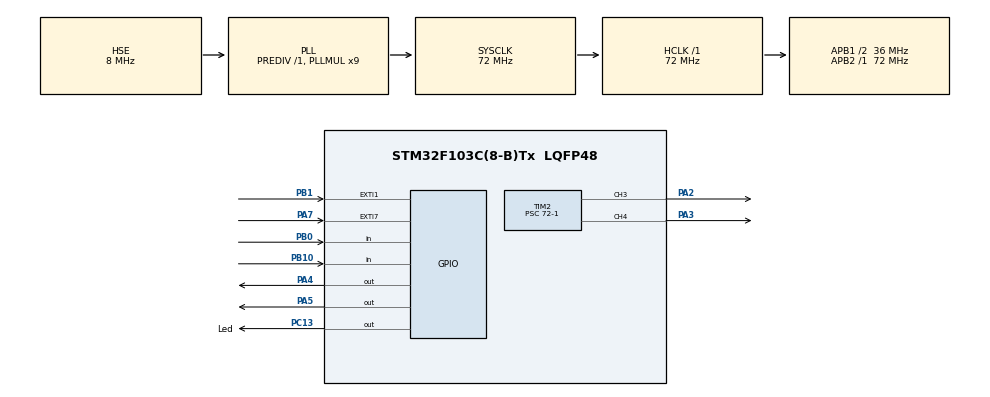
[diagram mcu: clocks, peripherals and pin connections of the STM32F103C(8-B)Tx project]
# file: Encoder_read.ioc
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FREERTOS.Tasks01=defaultTask,0,128,StartDefaultTask,Default,NULL,Dynamic,NULL,NULL;myTask02,0,128,StartTask02,Default,NULL,Dynamic,NULL,NULL
Mcu.Family=STM32F1
Mcu.Name=STM32F103C(8-B)Tx
Mcu.Package=LQFP48
NVIC.EXTI1_IRQn=true\:5\:0\:false\:false\:true\:true\:true\:true\:true
NVIC.EXTI9_5_IRQn=true\:5\:0\:false\:false\:true\:true\:true\:true\:true
NVIC.PriorityGroup=NVIC_PRIORITYGROUP_4
NVIC.TIM3_IRQn=true\:5\:0\:false\:false\:true\:true\:true\:true\:true
NVIC.TIM4_IRQn=true\:15\:0\:false\:false\:true\:false\:false\:true\:true
NVIC.TimeBase=TIM4_IRQn
NVIC.TimeBaseIP=TIM4
PA13.Mode=Serial_Wire
PA13.Signal=SYS_JTMS-SWDIO
PA14.Mode=Serial_Wire
PA14.Signal=SYS_JTCK-SWCLK
PA2.Signal=S_TIM2_CH3
PA3.Signal=S_TIM2_CH4
PA4.Signal=GPIO_Output
PA5.Signal=GPIO_Output
PA7.GPIO_PuPd=GPIO_PULLUP
PA7.Signal=GPXTI7
PB0.GPIO_PuPd=GPIO_PULLUP
PB0.Signal=GPIO_Input
PB1.GPIO_ModeDefaultEXTI=GPIO_MODE_IT_RISING
PB1.GPIO_PuPd=GPIO_PULLUP
PB1.Signal=GPXTI1
PB10.GPIO_PuPd=GPIO_PULLUP
PB10.Signal=GPIO_Input
PC13-TAMPER-RTC.GPIO_Label=Led
PC13-TAMPER-RTC.Signal=GPIO_Output
PD0-OSC_IN.Mode=HSE-External-Oscillator
PD0-OSC_IN.Signal=RCC_OSC_IN
PD1-OSC_OUT.Mode=HSE-External-Oscillator
PD1-OSC_OUT.Signal=RCC_OSC_OUT
ProjectManager.HeapSize=0x200
ProjectManager.StackSize=0x400
ProjectManager.TargetToolchain=STM32CubeIDE
RCC.AHBFreq_Value=72000000
RCC.APB1CLKDivider=RCC_HCLK_DIV2
RCC.APB1Freq_Value=36000000
RCC.APB1TimFreq_Value=72000000
RCC.APB2Freq_Value=72000000
RCC.APB2TimFreq_Value=72000000
RCC.HCLKFreq_Value=72000000
RCC.PLLMUL=RCC_PLL_MUL9
RCC.PLLSourceVirtual=RCC_PLLSOURCE_HSE
RCC.SYSCLKFreq_VALUE=72000000
RCC.SYSCLKSource=RCC_SYSCLKSOURCE_PLLCLK
RCC.USBFreq_Value=72000000
SH.S_TIM2_CH3.0=TIM2_CH3,PWM Generation3 CH3
SH.S_TIM2_CH4.0=TIM2_CH4,PWM Generation4 CH4
TIM2.Channel-PWM\ Generation3\ CH3=TIM_CHANNEL_3
TIM2.Channel-PWM\ Generation4\ CH4=TIM_CHANNEL_4
TIM2.Period=100-1
TIM2.Prescaler=72-1
TIM3.Period=2000-1
TIM3.Prescaler=72-1
VP_FREERTOS_VS_CMSIS_V1.Mode=CMSIS_V1
VP_SYS_VS_tim4.Mode=TIM4
VP_TIM2_VS_ClockSourceINT.Mode=Internal
VP_TIM3_VS_ClockSourceINT.Mode=Internal
board=custom

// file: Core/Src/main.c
/* USER CODE BEGIN Header */
/**
  ******************************************************************************
  * @file           : main.c
  * @brief          : Main program body
  ******************************************************************************
  * @attention
  *
  * Copyright (c) 2023 STMicroelectronics.
  * All rights reserved.
  *
  * This software is licensed under terms that can be found in the LICENSE file
  * in the root directory of this software component.
  * If no LICENSE file comes with this software, it is provided AS-IS.
  *
  ******************************************************************************
  */
/* USER CODE END Header */
#include "main.h"
#include "cmsis_os.h"

/* USER CODE BEGIN Includes */
#include <stdlib.h>
volatile int  count;
int u;
long counter;
long pos ;
float N = 13;
long precount;
float veloc;
float v1;
float v1Filt;
float v1Prev;
int vt = -50;
float e ;
float eI;
int u;
float kp = 1;
float ki = 0.05;
int dir;
int pwr;

int currentAngle = 0;
int angle = 0;
float stepPerAngle = 1.8 ; // full step = 1.8
int   numstep;
int state = 1;

int E;
int PREE;
float EI;
float ED;
int t = 80;
float kp1 = 1,ki1 = 0.05,kd1 = 0;
int Count;
/* USER CODE END Includes */

TIM_HandleTypeDef htim2;
TIM_HandleTypeDef htim3;

osThreadId defaultTaskHandle;
osThreadId myTask02Handle;

void SystemClock_Config(void);
static void MX_GPIO_Init(void);
static void MX_TIM2_Init(void);
static void MX_TIM3_Init(void);
void StartDefaultTask(void const * argument);
void StartTask02(void const * argument);

int main(void)
{

  /* MCU Configuration--------------------------------------------------------*/

  /* Reset of all peripherals, Initializes the Flash interface and the Systick. */
  HAL_Init();

  /* Configure the system clock */
  SystemClock_Config();

  /* Initialize all configured peripherals */
  MX_GPIO_Init();
  MX_TIM2_Init();
  MX_TIM3_Init();
  /* USER CODE BEGIN 2 */
  HAL_TIM_PWM_Start(&htim2,TIM_CHANNEL_3);
  HAL_TIM_PWM_Start(&htim2,TIM_CHANNEL_4);
  HAL_TIM_Base_Start_IT(&htim3);
  /* USER CODE END 2 */

  /* Create the thread(s) */
  /* definition and creation of defaultTask */
  osThreadDef(defaultTask, StartDefaultTask, osPriorityNormal, 0, 128);
  defaultTaskHandle = osThreadCreate(osThread(defaultTask), NULL);

  /* definition and creation of myTask02 */
  osThreadDef(myTask02, StartTask02, osPriorityNormal, 0, 128);
  myTask02Handle = osThreadCreate(osThread(myTask02), NULL);

  /* Start scheduler */
  osKernelStart();

  /* We should never get here as control is now taken by the scheduler */
  /* Infinite loop */
  while (1)
  {

  }
}

void SystemClock_Config(void)
{
  RCC_OscInitTypeDef RCC_OscInitStruct = {0};
  RCC_ClkInitTypeDef RCC_ClkInitStruct = {0};

  /** Initializes the RCC Oscillators according to the specified parameters
  * in the RCC_OscInitTypeDef structure.
  */
  RCC_OscInitStruct.OscillatorType = RCC_OSCILLATORTYPE_HSE;
  RCC_OscInitStruct.HSEState = RCC_HSE_ON;
  RCC_OscInitStruct.HSEPredivValue = RCC_HSE_PREDIV_DIV1;
  RCC_OscInitStruct.HSIState = RCC_HSI_ON;
  RCC_OscInitStruct.PLL.PLLState = RCC_PLL_ON;
  RCC_OscInitStruct.PLL.PLLSource = RCC_PLLSOURCE_HSE;
  RCC_OscInitStruct.PLL.PLLMUL = RCC_PLL_MUL9;
  if (HAL_RCC_OscConfig(&RCC_OscInitStruct) != HAL_OK)
  {
    Error_Handler();
  }

  /** Initializes the CPU, AHB and APB buses clocks
  */
  RCC_ClkInitStruct.ClockType = RCC_CLOCKTYPE_HCLK|RCC_CLOCKTYPE_SYSCLK
                              |RCC_CLOCKTYPE_PCLK1|RCC_CLOCKTYPE_PCLK2;
  RCC_ClkInitStruct.SYSCLKSource = RCC_SYSCLKSOURCE_PLLCLK;
  RCC_ClkInitStruct.AHBCLKDivider = RCC_SYSCLK_DIV1;
  RCC_ClkInitStruct.APB1CLKDivider = RCC_HCLK_DIV2;
  RCC_ClkInitStruct.APB2CLKDivider = RCC_HCLK_DIV1;

  if (HAL_RCC_ClockConfig(&RCC_ClkInitStruct, FLASH_LATENCY_2) != HAL_OK)
  {
    Error_Handler();
  }
}

static void MX_TIM2_Init(void)
{

  TIM_ClockConfigTypeDef sClockSourceConfig = {0};
  TIM_MasterConfigTypeDef sMasterConfig = {0};
  TIM_OC_InitTypeDef sConfigOC = {0};

  htim2.Instance = TIM2;
  htim2.Init.Prescaler = 72-1;
  htim2.Init.CounterMode = TIM_COUNTERMODE_UP;
  htim2.Init.Period = 100-1;
  htim2.Init.ClockDivision = TIM_CLOCKDIVISION_DIV1;
  htim2.Init.AutoReloadPreload = TIM_AUTORELOAD_PRELOAD_DISABLE;
  if (HAL_TIM_Base_Init(&htim2) != HAL_OK)
  {
    Error_Handler();
  }
  sClockSourceConfig.ClockSource = TIM_CLOCKSOURCE_INTERNAL;
  if (HAL_TIM_ConfigClockSource(&htim2, &sClockSourceConfig) != HAL_OK)
  {
    Error_Handler();
  }
  if (HAL_TIM_PWM_Init(&htim2) != HAL_OK)
  {
    Error_Handler();
  }
  sMasterConfig.MasterOutputTrigger = TIM_TRGO_RESET;
  sMasterConfig.MasterSlaveMode = TIM_MASTERSLAVEMODE_DISABLE;
  if (HAL_TIMEx_MasterConfigSynchronization(&htim2, &sMasterConfig) != HAL_OK)
  {
    Error_Handler();
  }
  sConfigOC.OCMode = TIM_OCMODE_PWM1;
  sConfigOC.Pulse = 0;
  sConfigOC.OCPolarity = TIM_OCPOLARITY_HIGH;
  sConfigOC.OCFastMode = TIM_OCFAST_DISABLE;
  if (HAL_TIM_PWM_ConfigChannel(&htim2, &sConfigOC, TIM_CHANNEL_3) != HAL_OK)
  {
    Error_Handler();
  }
  if (HAL_TIM_PWM_ConfigChannel(&htim2, &sConfigOC, TIM_CHANNEL_4) != HAL_OK)
  {
    Error_Handler();
  }
  HAL_TIM_MspPostInit(&htim2);

}

static void MX_TIM3_Init(void)
{

  TIM_ClockConfigTypeDef sClockSourceConfig = {0};
  TIM_MasterConfigTypeDef sMasterConfig = {0};

  htim3.Instance = TIM3;
  htim3.Init.Prescaler = 72-1;
  htim3.Init.CounterMode = TIM_COUNTERMODE_UP;
  htim3.Init.Period = 2000-1;
  htim3.Init.ClockDivision = TIM_CLOCKDIVISION_DIV1;
  htim3.Init.AutoReloadPreload = TIM_AUTORELOAD_PRELOAD_DISABLE;
  if (HAL_TIM_Base_Init(&htim3) != HAL_OK)
  {
    Error_Handler();
  }
  sClockSourceConfig.ClockSource = TIM_CLOCKSOURCE_INTERNAL;
  if (HAL_TIM_ConfigClockSource(&htim3, &sClockSourceConfig) != HAL_OK)
  {
    Error_Handler();
  }
  sMasterConfig.MasterOutputTrigger = TIM_TRGO_RESET;
  sMasterConfig.MasterSlaveMode = TIM_MASTERSLAVEMODE_DISABLE;
  if (HAL_TIMEx_MasterConfigSynchronization(&htim3, &sMasterConfig) != HAL_OK)
  {
    Error_Handler();
  }

}

static void MX_GPIO_Init(void)
{
  GPIO_InitTypeDef GPIO_InitStruct = {0};

  /* GPIO Ports Clock Enable */
  __HAL_RCC_GPIOC_CLK_ENABLE();
  __HAL_RCC_GPIOD_CLK_ENABLE();
  __HAL_RCC_GPIOA_CLK_ENABLE();
  __HAL_RCC_GPIOB_CLK_ENABLE();

  /*Configure GPIO pin Output Level */
  HAL_GPIO_WritePin(Led_GPIO_Port, Led_Pin, GPIO_PIN_RESET);

  /*Configure GPIO pin Output Level */
  HAL_GPIO_WritePin(GPIOA, GPIO_PIN_4|GPIO_PIN_5, GPIO_PIN_RESET);

  /*Configure GPIO pin : Led_Pin */
  GPIO_InitStruct.Pin = Led_Pin;
  GPIO_InitStruct.Mode = GPIO_MODE_OUTPUT_PP;
  GPIO_InitStruct.Pull = GPIO_NOPULL;
  GPIO_InitStruct.Speed = GPIO_SPEED_FREQ_LOW;
  HAL_GPIO_Init(Led_GPIO_Port, &GPIO_InitStruct);

  /*Configure GPIO pins : PA4 PA5 */
  GPIO_InitStruct.Pin = GPIO_PIN_4|GPIO_PIN_5;
  GPIO_InitStruct.Mode = GPIO_MODE_OUTPUT_PP;
  GPIO_InitStruct.Pull = GPIO_NOPULL;
  GPIO_InitStruct.Speed = GPIO_SPEED_FREQ_LOW;
  HAL_GPIO_Init(GPIOA, &GPIO_InitStruct);

  /*Configure GPIO pin : PA7 */
  GPIO_InitStruct.Pin = GPIO_PIN_7;
  GPIO_InitStruct.Mode = GPIO_MODE_IT_RISING;
  GPIO_InitStruct.Pull = GPIO_PULLUP;
  HAL_GPIO_Init(GPIOA, &GPIO_InitStruct);

  /*Configure GPIO pins : PB0 PB10 */
  GPIO_InitStruct.Pin = GPIO_PIN_0|GPIO_PIN_10;
  GPIO_InitStruct.Mode = GPIO_MODE_INPUT;
  GPIO_InitStruct.Pull = GPIO_PULLUP;
  HAL_GPIO_Init(GPIOB, &GPIO_InitStruct);

  /*Configure GPIO pin : PB1 */
  GPIO_InitStruct.Pin = GPIO_PIN_1;
  GPIO_InitStruct.Mode = GPIO_MODE_IT_RISING;
  GPIO_InitStruct.Pull = GPIO_PULLUP;
  HAL_GPIO_Init(GPIOB, &GPIO_InitStruct);

  /* EXTI interrupt init*/
  HAL_NVIC_SetPriority(EXTI1_IRQn, 5, 0);
  HAL_NVIC_EnableIRQ(EXTI1_IRQn);

  HAL_NVIC_SetPriority(EXTI9_5_IRQn, 5, 0);
  HAL_NVIC_EnableIRQ(EXTI9_5_IRQn);

}

/* USER CODE BEGIN 4 */
void Drive(){
//	int n;
//	if(currentAngle != angle ){
//		if( currentAngle < angle){
//			HAL_GPIO_WritePin(GPIOB, GPIO_PIN_10, 0);
//			 n = angle - currentAngle;
//			numstep = (n / stepPerAngle);
//		}
//	  else if( currentAngle > angle){
//		  HAL_GPIO_WritePin(GPIOB, GPIO_PIN_10, 1);
//		  n = currentAngle - angle;
//		  if( angle == 0){
//			 n =currentAngle;
//		  }
//		 numstep = (n / stepPerAngle);
//	  }
//
//	  for(int x = 0; x <numstep; x++) {

	if(u!=0){
			 HAL_GPIO_WritePin(GPIOA, GPIO_PIN_4, 1);
			 osDelay(1);
			 HAL_GPIO_WritePin(GPIOA, GPIO_PIN_4, 0);
			 osDelay(1);
	}
	else{
			HAL_GPIO_WritePin(GPIOA, GPIO_PIN_4, 0);
			osDelay(1);
			 HAL_GPIO_WritePin(GPIOA, GPIO_PIN_4, 0);
			osDelay(1);
		}
	//		  }
	//	  currentAngle = angle;
	//	}
	}

void HAL_GPIO_EXTI_Callback(uint16_t GPIO_Pin)
{
	if (GPIO_Pin == GPIO_PIN_1){
		if (HAL_GPIO_ReadPin(GPIOB,GPIO_PIN_10) == 0) count++;
		else count--;
	}
	if (count > 12 || count < -12) count = 0;
	if (GPIO_Pin == GPIO_PIN_7){
			if (HAL_GPIO_ReadPin(GPIOB,GPIO_PIN_0) == 0) Count++;
			else Count--;

		}

}

void setMotor(int dir , int pwmVal){
//	pwmVal = 100-pwmVal;
	if (dir == -1){
		  __HAL_TIM_SET_COMPARE(&htim2, TIM_CHANNEL_3, pwmVal);
		  __HAL_TIM_SET_COMPARE(&htim2, TIM_CHANNEL_4, 0);
	  }
	else if (dir == 1){
		  __HAL_TIM_SET_COMPARE(&htim2, TIM_CHANNEL_3, 0);
		  __HAL_TIM_SET_COMPARE(&htim2, TIM_CHANNEL_4, pwmVal);
	  }
	  else{
		  __HAL_TIM_SET_COMPARE(&htim2, TIM_CHANNEL_3, 0);
		  __HAL_TIM_SET_COMPARE(&htim2, TIM_CHANNEL_4, 0);
	  }
}
void calculateSpeedPID ()
{
	e = vt - v1Filt;
	eI += e * 0.002;
//	if (eI>80000){
//			eI = 80000;
//		}
//	else if(eI<-80000){
//		eI = -80000;
//	}
	u = kp * e + ki * eI;

	if(u < 0) dir = 1;
	else dir = -1;
	pwr = abs(u);
	if(pwr > 100) pwr = 100;
}
/* USER CODE END 4 */

void StartDefaultTask(void const * argument)
{
  /* USER CODE BEGIN 5 */
  /* Infinite loop */
  for(;;)
  {
	  calculateSpeedPID();
	  setMotor(dir, pwr);
  }
  /* USER CODE END 5 */
}

void StartTask02(void const * argument)
{
  /* USER CODE BEGIN StartTask02 */
  /* Infinite loop */
  for(;;)
  {
    u = 1;
    Drive();
  }
  /* USER CODE END StartTask02 */
}

void HAL_TIM_PeriodElapsedCallback(TIM_HandleTypeDef *htim)
{
  if (htim->Instance == TIM4) {
    HAL_IncTick();
  }
  /* USER CODE BEGIN Callback 1 */
	  counter = count;
	  	pos = counter - precount;
	  	if (dir == -1 && pos < -6.5) pos += N;
	  	if (dir == 1 && pos > 6.5) pos -= N;
	  	veloc = pos / 0.002;
	  	v1 = veloc / (650) * 60;
	  	v1Filt = 0.854 * v1Filt + 0.0728 * v1 + 0.0728 * v1Prev;
	  	v1Prev = v1;
	  	precount = counter;

	  	E = t - Count;
	  		EI += E*0.001;
	  		ED = (E-PREE)/0.001;
	  		if (EI>0.09){
	  			EI = 0.09;
	  		}
	  		u = kp1*E + ki1*EI + kd1*ED;
	  	//	angle = u*360/20;
	  		PREE = E;
	  		if (u>0){
	  			HAL_GPIO_WritePin(GPIOA, GPIO_PIN_5, 1);

	  		}
	  		else if (u<0){
	  			HAL_GPIO_WritePin(GPIOA, GPIO_PIN_5, 0);
	  		}
  /* USER CODE END Callback 1 */
}

void Error_Handler(void)
{
  __disable_irq();
  while (1)
  {
  }
}
